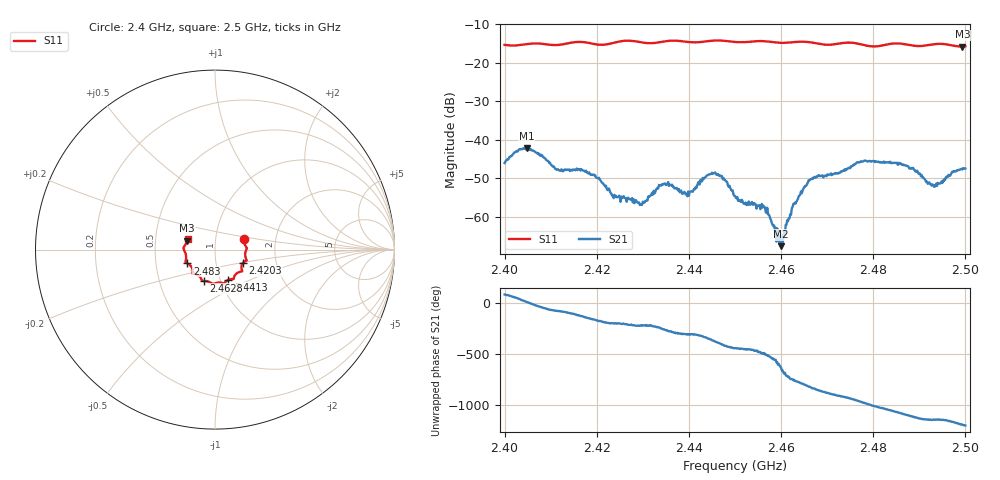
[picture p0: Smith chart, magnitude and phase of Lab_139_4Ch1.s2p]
# Hz S RI R 50
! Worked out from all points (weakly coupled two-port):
!   601 points, 2.4 GHz to 2.5 GHz, reference 50 ohm
!   highest |S21| = -42.17 dB at 2.4048 GHz (marker M1); lowest = -67.7 dB at 2.46 GHz (marker M2)
!   lowest |S11| = -15.8 dB at 2.4993 GHz (marker M3), VSWR 1.39, Z = 36.5 + j3.72 ohm
!   |S11| at or under -10 dB: start of sweep to end of sweep
!   S12 and S22 are empty: the file has one direction only
!   S11 on the Smith chart (normalised r, x): 2.4 GHz: 1.37, +0.16; 2.4203 GHz: 1.35, -0.21; 2.4413 GHz: 1.09, -0.38; 2.4628 GHz: 0.83, -0.30; 2.483 GHz: 0.72, -0.11; 2.5 GHz: 0.73, +0.09
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2.4e9  0.161 0.0567  0.00043 0.00495  0 0  0 0
2.404833e9  0.1746 0.0137  0.00764 0.00153  0 0  0 0
2.4115e9  0.1678 -0.0263  0.00109 -0.00397  0 0  0 0
2.416667e9  0.1758 -0.0615  -0.00242 -0.00335  0 0  0 0
2.420333e9  0.1552 -0.0739  -0.00312 -0.000353  0 0  0 0
2.4235e9  0.1474 -0.1039  -0.00179 0.000526  0 0  0 0
2.429333e9  0.1385 -0.1239  -0.00106 0.000937  0 0  0 0
2.433333e9  0.1081 -0.1483  -0.00131 0.00192  0 0  0 0
2.441333e9  0.0743 -0.1683  0.00137 0.00182  0 0  0 0
2.445833e9  0.0498 -0.1883  0.00344 -0.00117  0 0  0 0
2.45e9  0.0294 -0.1837  0.000322 -0.00183  0 0  0 0
2.4565e9  -0.0147 -0.1898  -0.00106 -0.000784  0 0  0 0
2.46e9  -0.0392 -0.1771  2.88e-05 0.000412  0 0  0 0
2.462833e9  -0.0629 -0.1746  0.00127 -0.000749  0 0  0 0
2.466667e9  -0.0743 -0.1676  -0.000988 -0.00297  0 0  0 0
2.477833e9  -0.1245 -0.1174  -0.00137 0.00504  0 0  0 0
2.483e9  -0.1548 -0.0768  0.00397 0.00318  0 0  0 0
2.483333e9  -0.1569 -0.0759  0.00416 0.00293  0 0  0 0
2.4885e9  -0.1608 -0.0466  0.00363 -0.00227  0 0  0 0
2.493e9  -0.1738 0.000701  0.00127 -0.00225  0 0  0 0
2.499333e9  -0.1545 0.0496  -0.00139 -0.00386  0 0  0 0
2.5e9  -0.1529 0.0586  -0.00198 -0.00373  0 0  0 0
